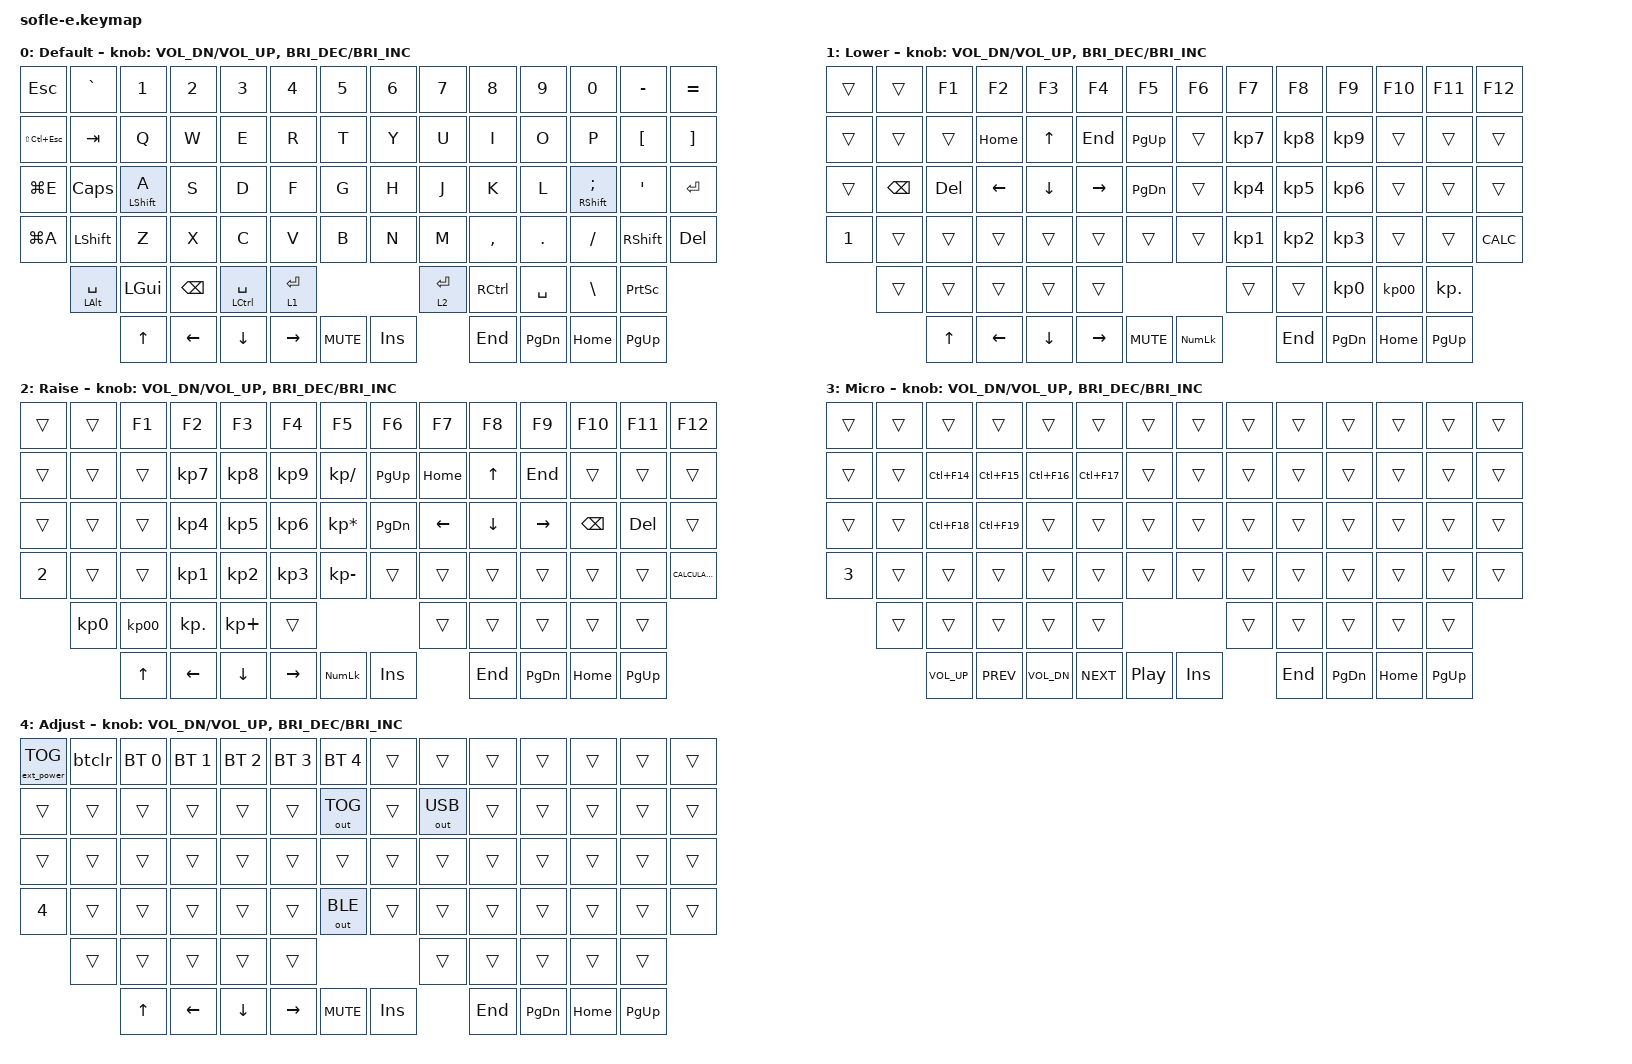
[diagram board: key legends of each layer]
/*
 * Copyright (c) 2020 The ZMK Contributors
 *
 * SPDX-License-Identifier: MIT
 */

#include <behaviors.dtsi>
#include <dt-bindings/zmk/bt.h>
#include <dt-bindings/zmk/ext_power.h>
#include <dt-bindings/zmk/keys.h>
#include <dt-bindings/zmk/outputs.h>

#define BASE 0
#define LOWER 1
#define RAISE 2
#define MICRO 3
#define ADJUST 4

&mt {
    tapping-term-ms = <200>;
    flavor = "tap-preferred";
    quick-tap-ms = <200>;
    require-prior-idle-ms = <100>;

    //retro-tap;
};

/ {
    // Activate ADJUST layer by pressing raise and lower

    conditional_layers {
        compatible = "zmk,conditional-layers";

        adjust_layer {
            if-layers = <1 2>;
            then-layer = <4>;
        };
    };

    combos {
        compatible = "zmk,combos";

        JK2Layer3 {
            bindings = <&mo 3>;
            key-positions = <36 37>;
        };

        SD2Del {
            bindings = <&kp DEL>;
            key-positions = <31 32>;
        };
    };

    behaviors {
        btclr: btclr {
            compatible = "zmk,behavior-mod-morph";
            label = "Clear blu profile mod-morph";
            bindings = <&none>, <&bt BT_CLR>;

            #binding-cells = <0>;
            mods = <(MOD_LCTL|MOD_LSFT|MOD_LGUI|MOD_LALT|MOD_RSFT|MOD_RCTL|MOD_RALT|MOD_RGUI)>;
        };
    };

    macros {
        kp00: kp00 {
            compatible = "zmk,behavior-macro";
            #binding-cells = <0>;
            bindings = <&kp N0 &kp N0>;
            label = "KP00";
        };
    };

    keymap {
        compatible = "zmk,keymap";

        default_layer {
            display-name = "Default";
            bindings = <
&kp ESC          &kp GRAVE       &kp N1       &kp N2    &kp N3           &kp N4     &kp N5          &kp N6   &kp N7     &kp N8     &kp N9     &kp N0          &kp MINUS  &kp EQUAL
&kp LS(LC(ESC))  &kp TAB         &kp Q        &kp W     &kp E            &kp R      &kp T           &kp Y    &kp U      &kp I      &kp O      &kp P           &kp LBKT   &kp RBKT
&kp LG(E)        &kp CAPS        &mt LSHFT A  &kp S     &kp D            &kp F      &kp G           &kp H    &kp J      &kp K      &kp L      &mt RSHFT SEMI  &kp SQT    &kp RET
&kp LG(A)        &kp LSHFT       &kp Z        &kp X     &kp C            &kp V      &kp B           &kp N    &kp M      &kp COMMA  &kp DOT    &kp FSLH        &kp RSHFT  &kp DEL
                 &mt LALT SPACE  &kp LGUI     &kp BSPC  &mt LCTRL SPACE  &lt 1 RET                           &lt 2 RET  &kp RCTRL  &kp SPACE  &kp BSLH        &kp PSCRN
                                 &kp UP       &kp LEFT  &kp DOWN         &kp RIGHT  &kp C_MUTE      &kp INS             &kp END    &kp PG_DN  &kp HOME        &kp PG_UP
            >;

            sensor-bindings =
                <&inc_dec_kp C_VOL_DN C_VOL_UP>,
                <&inc_dec_kp C_BRI_DEC C_BRI_INC>;
        };

        lower_layer {
            display-name = "Lower";
            bindings = <
&trans  &trans         &kp F1   &kp F2    &kp F3    &kp F4     &kp F5             &kp F6      &kp F7           &kp F8           &kp F9           &kp F10   &kp F11     &kp F12
&trans  &trans         &trans   &kp HOME  &kp UP    &kp END    &kp PAGE_UP        &trans      &kp KP_NUMBER_7  &kp KP_NUMBER_8  &kp KP_NUMBER_9  &trans    &trans      &trans
&trans  &kp BACKSPACE  &kp DEL  &kp LEFT  &kp DOWN  &kp RIGHT  &kp PAGE_DOWN      &trans      &kp KP_NUMBER_4  &kp KP_NUMBER_5  &kp KP_NUMBER_6  &trans    &trans      &trans
&kp N1  &trans         &trans   &trans    &trans    &trans     &trans             &trans      &kp KP_NUMBER_1  &kp KP_NUMBER_2  &kp KP_NUMBER_3  &trans    &trans      &kp K_CALC
        &trans         &trans   &trans    &trans    &trans                                    &trans           &trans           &kp KP_NUMBER_0  &kp00     &kp KP_DOT
                       &kp UP   &kp LEFT  &kp DOWN  &kp RIGHT  &kp C_MUTE         &kp KP_NUM                   &kp END          &kp PG_DN        &kp HOME  &kp PG_UP
            >;

            sensor-bindings =
                <&inc_dec_kp C_VOL_DN C_VOL_UP>,
                <&inc_dec_kp C_BRI_DEC C_BRI_INC>;
        };

        raise_layer {
            display-name = "Raise";
            bindings = <
&trans  &trans           &kp F1  &kp F2           &kp F3           &kp F4           &kp F5               &kp F6     &kp F7    &kp F8    &kp F9     &kp F10        &kp F11    &kp F12
&trans  &trans           &trans  &kp KP_NUMBER_7  &kp KP_NUMBER_8  &kp KP_NUMBER_9  &kp KP_SLASH         &kp PG_UP  &kp HOME  &kp UP    &kp END    &trans         &trans     &trans
&trans  &trans           &trans  &kp KP_NUMBER_4  &kp KP_NUMBER_5  &kp KP_NUMBER_6  &kp KP_ASTERISK      &kp PG_DN  &kp LEFT  &kp DOWN  &kp RIGHT  &kp BACKSPACE  &kp DEL    &trans
&kp N2  &trans           &trans  &kp KP_NUMBER_1  &kp KP_NUMBER_2  &kp KP_NUMBER_3  &kp KP_MINUS         &trans     &trans    &trans    &trans     &trans         &trans     &kp K_CALCULATOR
        &kp KP_NUMBER_0  &kp00   &kp KP_DOT       &kp KP_PLUS      &trans                                           &trans    &trans    &trans     &trans         &trans
                         &kp UP  &kp LEFT         &kp DOWN         &kp RIGHT        &kp KP_NUM           &kp INS              &kp END   &kp PG_DN  &kp HOME       &kp PG_UP
            >;

            sensor-bindings =
                <&inc_dec_kp C_VOL_DN C_VOL_UP>,
                <&inc_dec_kp C_BRI_DEC C_BRI_INC>;
        };

        micro_layer {
            display-name = "Micro";
            bindings = <
&trans  &trans  &trans        &trans       &trans        &trans       &trans        &trans   &trans  &trans   &trans     &trans    &trans     &trans
&trans  &trans  &kp LC(F14)   &kp LC(F15)  &kp LC(F16)   &kp LC(F17)  &trans        &trans   &trans  &trans   &trans     &trans    &trans     &trans
&trans  &trans  &kp LC(F18)   &kp LC(F19)  &trans        &trans       &trans        &trans   &trans  &trans   &trans     &trans    &trans     &trans
&kp N3  &trans  &trans        &trans       &trans        &trans       &trans        &trans   &trans  &trans   &trans     &trans    &trans     &trans
        &trans  &trans        &trans       &trans        &trans                              &trans  &trans   &trans     &trans    &trans
                &kp C_VOL_UP  &kp C_PREV   &kp C_VOL_DN  &kp C_NEXT   &kp C_PP      &kp INS          &kp END  &kp PG_DN  &kp HOME  &kp PG_UP
            >;

            sensor-bindings =
                <&inc_dec_kp C_VOL_DN C_VOL_UP>,
                <&inc_dec_kp C_BRI_DEC C_BRI_INC>;
        };

        adjust_layer {
            display-name = "Adjust";
            bindings = <
&ext_power EP_TOG  &btclr  &bt BT_SEL 0  &bt BT_SEL 1  &bt BT_SEL 2  &bt BT_SEL 3  &bt BT_SEL 4      &trans   &trans        &trans   &trans     &trans    &trans     &trans
&trans             &trans  &trans        &trans        &trans        &trans        &out OUT_TOG      &trans   &out OUT_USB  &trans   &trans     &trans    &trans     &trans
&trans             &trans  &trans        &trans        &trans        &trans        &trans            &trans   &trans        &trans   &trans     &trans    &trans     &trans
&kp N4             &trans  &trans        &trans        &trans        &trans        &out OUT_BLE      &trans   &trans        &trans   &trans     &trans    &trans     &trans
                   &trans  &trans        &trans        &trans        &trans                                   &trans        &trans   &trans     &trans    &trans
                           &kp UP        &kp LEFT      &kp DOWN      &kp RIGHT     &kp C_MUTE        &kp INS                &kp END  &kp PG_DN  &kp HOME  &kp PG_UP
            >;

            sensor-bindings =
                <&inc_dec_kp C_VOL_DN C_VOL_UP>,
                <&inc_dec_kp C_BRI_DEC C_BRI_INC>;
        };
    };
};
